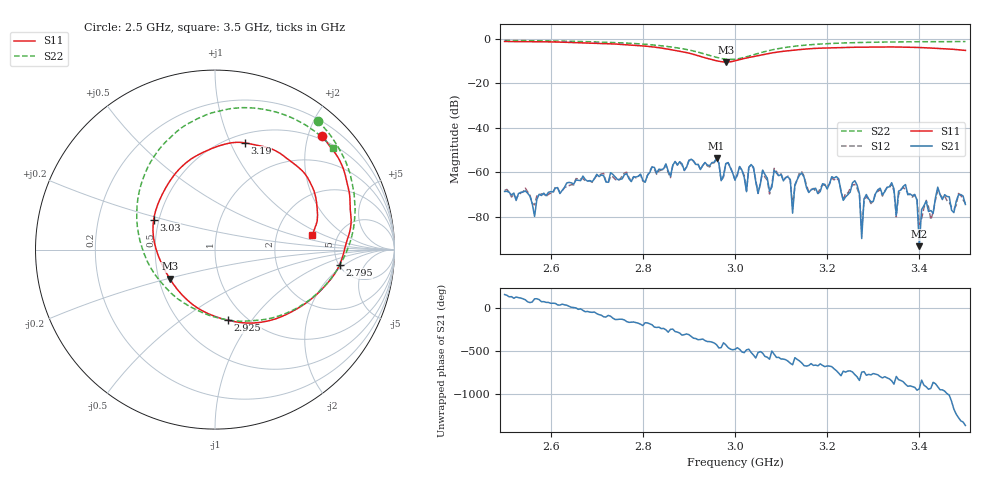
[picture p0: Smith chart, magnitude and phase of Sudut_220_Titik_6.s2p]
# Hz S RI R 50
! CMT, C1220, 16058040, 17.2.0/1
! Date: 15/08/2018 10:18:38
! Data: Format (Calibration Info)
! Freq  S11: Re/Im (F2)  S21: Re/Im (F2)  S12: Re/Im (F2)  S22: Re/Im (F2)
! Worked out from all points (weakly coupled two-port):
!   201 points, 2.5 GHz to 3.5 GHz, reference 50 ohm
!   highest |S21| = -53.75 dB at 2.96 GHz (marker M1); lowest = -93.3 dB at 3.4 GHz (marker M2)
!   lowest |S11| = -10.5 dB at 2.98 GHz (marker M3), VSWR 1.86, Z = 28.5 - j10.2 ohm
!   |S11| at or under -10 dB: 2.962 GHz to 2.998 GHz (35.94 MHz wide, 1.21 % of centre)
!   |S22| runs from -9.3 to -0.7 dB; largest |S21 - S12| = 0.00017
!   S11 on the Smith chart (normalised r, x): 2.5 GHz: 0.43, +2.24; 2.795 GHz: 5.06, -1.70; 2.925 GHz: 0.83, -0.78; 3.03 GHz: 0.47, +0.18; 3.19 GHz: 0.59, +1.13; 3.5 GHz: 3.23, +0.73
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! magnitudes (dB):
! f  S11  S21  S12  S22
! 2.5 GHz  -1.2  -68.7  -68.2  -0.7
! 2.565 GHz  -1.3  -79.9  -74.7  -0.9
! 2.67 GHz  -1.8  -61.8  -62.9  -1.2
! 2.795 GHz  -3.1  -60.9  -61.2  -2.3
! 2.835 GHz  -4.0  -58.7  -59.5  -3.0
! 2.925 GHz  -7.9  -58.8  -58.7  -6.3
! 2.96 GHz  -9.9  -53.8  -53.8  -8.4
! 2.98 GHz  -10.5  -56.2  -56.5  -9.2
! 3 GHz  -9.9  -63.5  -63.6  -9.2
! 3.03 GHz  -8.4  -57.9  -57.7  -7.8
! 3.05 GHz  -7.6  -69.5  -69.6  -6.6
! 3.115 GHz  -5.4  -62.1  -61.8  -3.7
! 3.125 GHz  -5.2  -78.5  -75.4  -3.5
! 3.14 GHz  -4.9  -61.3  -60.2  -3.1
! 3.17 GHz  -4.4  -67.6  -67.4  -2.6
! 3.19 GHz  -4.2  -65.3  -65.7  -2.3
! 3.26 GHz  -3.8  -63.9  -65.6  -1.7
! 3.275 GHz  -3.8  -89.9  -85.7  -1.7
! 3.335 GHz  -3.7  -66.6  -67.1  -1.4
! 3.4 GHz  -3.9  -93.3  -83.7  -1.3
! 3.44 GHz  -4.3  -66.8  -68.1  -1.3
! 3.5 GHz  -5.2  -74.6  -74.1  -1.3
